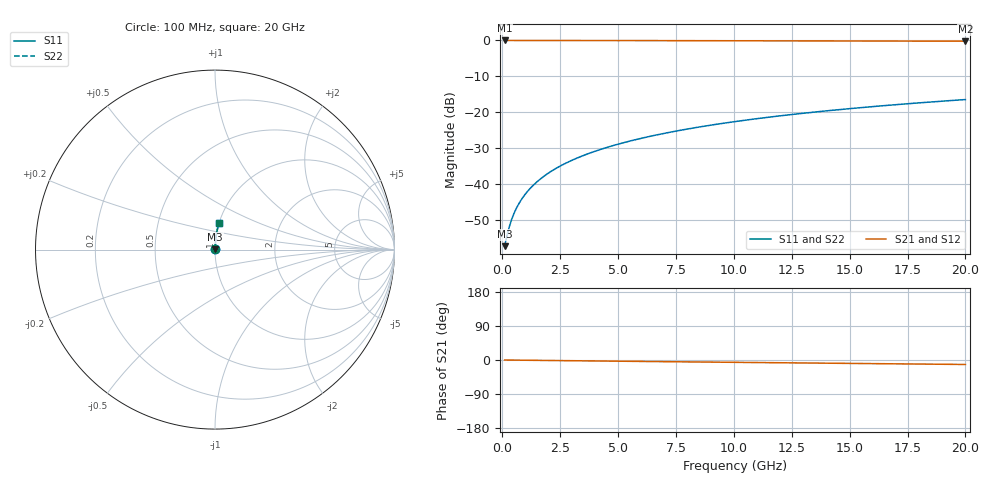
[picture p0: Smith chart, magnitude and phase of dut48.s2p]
! Touchstone file exported from HFSS 2024.1.0
!  File:  C:/UserFiles/LocalFiles/RDL_TSV_Batchsim/temp_RDL_top_48_1778681237.aedt
!  Generated:  10:09:41 PM May 13, 2026
!  Design:  RDL_top
!  Project:  temp_RDL_top_48_1778681237
!  Setup:  Setup1
!  Solution:  Sweep
! Variables:
!  dtsv = 10.80580581um
!  hbump = 3um
!  htsv = 65.89um
!  ldown = 100um
!  lrdl = 121.42um
!  p = 40
!  p1 = 46.72um
!  rhole = 1um
!  t = 450um
!  tdown = 3.915915916um
!  trdl = 2.88um
!  wdown = 15.38538539um
!  wrdl = 17.03um
# GHz S MA R 50.000000
! Terminal data exported
! Port[1] = Box2_T1
! Port[2] = Box2_T2
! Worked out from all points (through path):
!   200 points, 100 MHz to 20 GHz, reference 50 ohm
!   highest |S21| = -0.01 dB at 100 MHz (marker M1); lowest = -0.2 dB at 20 GHz (marker M2)
!   group delay of S21, straight-line fit = 1.63 ps
!   lowest |S11| = -57.4 dB at 100 MHz (marker M3), VSWR 1.00, Z = 50.1 + j0.0747 ohm
!   |S11| at or under -10 dB: start of sweep to end of sweep
!   |S22| runs from -57.4 to -16.5 dB; largest |S21 - S12| = 3.1e-15
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0.1  0.001355 33.4  0.9989 -0.1  0.9989 -0.1  0.001355 33.4
! Gamma 0 0 0 0
! Port Impedance 50 0 50 0
0.2  0.001878 52.1  0.9988 -0.1  0.9988 -0.1  0.001878 52.1
0.3  0.002505 61.9  0.9988 -0.2  0.9988 -0.2  0.002505 61.9
0.4  0.003165 67.5  0.9988 -0.3  0.9988 -0.3  0.003165 67.5
0.5  0.003836 71.2  0.9987 -0.3  0.9987 -0.3  0.003836 71.2
0.6  0.004513 73.8  0.9987 -0.4  0.9987 -0.4  0.004513 73.8
0.8  0.005874 77.3  0.9986 -0.5  0.9986 -0.5  0.005874 77.3
1.1  0.007932 80.4  0.9985 -0.7  0.9985 -0.7  0.007932 80.4
1.5  0.0107 82.8  0.9983 -1.0  0.9983 -1.0  0.0107 82.8
1.8  0.0128 83.9  0.9982 -1.2  0.9982 -1.2  0.0128 83.9
2.1  0.0149 84.7  0.998 -1.4  0.998 -1.4  0.0149 84.7
2.7  0.01914 85.8  0.9977 -1.7  0.9977 -1.7  0.01914 85.8
3.5  0.02486 86.6  0.9971 -2.2  0.9971 -2.2  0.02486 86.6
4.2  0.02993 87.0  0.9964 -2.7  0.9964 -2.7  0.02993 87.0
5  0.03578 87.3  0.9956 -3.2  0.9956 -3.2  0.03578 87.3
5.9  0.04243 87.3  0.9947 -3.7  0.9947 -3.7  0.04243 87.3
6.8  0.04917 87.2  0.9936 -4.3  0.9936 -4.3  0.04917 87.2
8.3  0.06052 86.8  0.9917 -5.2  0.9917 -5.2  0.06052 86.8
10.1  0.07429 86.1  0.9894 -6.2  0.9894 -6.2  0.07429 86.1
13.4  0.09966 84.4  0.9849 -8.1  0.9849 -8.1  0.09966 84.4
16.7  0.1249 82.4  0.9802 -10.0  0.9802 -10.0  0.1249 82.4
20  0.1499 80.4  0.9754 -11.8  0.9754 -11.8  0.1499 80.4
